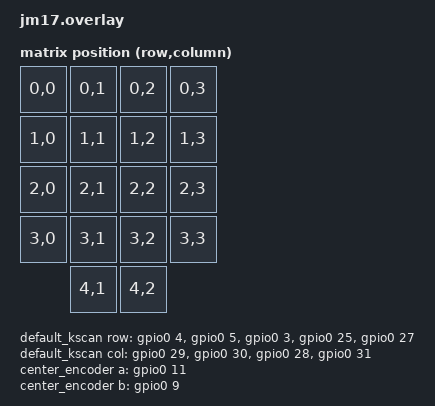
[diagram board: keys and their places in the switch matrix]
/*
 * Copyright (c) 2020 The ZMK Contributors
 *
 * SPDX-License-Identifier: MIT
 */
#include <dt-bindings/zmk/matrix_transform.h>
#include <dt-bindings/led/led.h>

/ {

	chosen {
        zmk,kscan = &default_kscan;
        zmk,matrix-transform = &default_transform;
        zmk,underglow = &led_strip;
        zephyr,display = &oled;
	};

    default_kscan: kscan {
        compatible = "zmk,kscan-gpio-matrix";
        label = "default_kscan";
        diode-direction = "col2row";

        row-gpios = <&gpio0 4  (GPIO_ACTIVE_HIGH | GPIO_PULL_DOWN)>,
                    <&gpio0 5  (GPIO_ACTIVE_HIGH | GPIO_PULL_DOWN)>,
                    <&gpio0 3  (GPIO_ACTIVE_HIGH | GPIO_PULL_DOWN)>,
                    <&gpio0 25  (GPIO_ACTIVE_HIGH | GPIO_PULL_DOWN)>,
                    <&gpio0 27  (GPIO_ACTIVE_HIGH | GPIO_PULL_DOWN)>;
 
        col-gpios = <&gpio0 29  GPIO_ACTIVE_HIGH>,
                    <&gpio0 30 GPIO_ACTIVE_HIGH>,
                    <&gpio0 28  GPIO_ACTIVE_HIGH>,
                    <&gpio0 31  GPIO_ACTIVE_HIGH>;
    };

    default_transform: matrix_transform {
        compatible = "zmk,matrix-transform";
        rows = <5>;
        columns = <4>;

        map = <
            RC(0,0) RC(0,1) RC(0,2) RC(0,3)
            RC(1,0) RC(1,1) RC(1,2) RC(1,3)
            RC(2,0) RC(2,1) RC(2,2) RC(2,3)
            RC(3,0) RC(3,1) RC(3,2) RC(3,3)
                    RC(4,1) RC(4,2) 
        >;
    };

    center_encoder: encoder_center {
		compatible = "alps,ec11";
		label = "CENTER_ENCODER";
		resolution = <4>;
        steps = <40>;
        a-gpios = <&gpio0 11 (GPIO_ACTIVE_HIGH | GPIO_PULL_UP)>;
	    b-gpios = <&gpio0 9 (GPIO_ACTIVE_HIGH | GPIO_PULL_UP)>;
		status = "okay";
	};

    sensors {
		compatible = "zmk,keymap-sensors";
		sensors = <&center_encoder>;
	};
};

&pinctrl {
   spi0_default: spi0_default {
        group1 {
            psels = <NRF_PSEL(SPIM_MOSI, 0, 26)>; // WS2812_VEXT_DATA
        };
    };

    spi0_sleep: spi0_sleep {
        group1 {
            psels = <NRF_PSEL(SPIM_MOSI, 0, 26)>;
            low-power-enable;
        };
    };

    i2c0_default: i2c0_default {
        group1 {
            psels = <NRF_PSEL(TWIM_SDA, 0, 13)>,
                <NRF_PSEL(TWIM_SCL, 0, 12)>;
        };
    };

    i2c0_sleep: i2c0_sleep {
        group1 {
            psels = <NRF_PSEL(TWIM_SDA, 0, 13)>,
                <NRF_PSEL(TWIM_SCL, 0, 12)>;
            low-power-enable;
        };
    };
  };

&spi0{
    compatible = "nordic,nrf-spim";
    status = "disabled";

    pinctrl-0 = <&spi0_default>;
    pinctrl-1 = <&spi0_sleep>;
    pinctrl-names = "default", "sleep";

    led_strip: ws2812@0 {
        compatible = "worldsemi,ws2812-spi";

        /* SPI */
        reg = <0>; /* ignored, but necessary for SPI bindings */
        spi-max-frequency = <4000000>;

        /* WS2812 */
        chain-length = <7>; /* 6 keys have underglow at the moment */
        spi-one-frame = <0x70>;
        spi-zero-frame = <0x40>;

        color-mapping = <LED_COLOR_ID_GREEN LED_COLOR_ID_RED LED_COLOR_ID_BLUE>;
    };
};

&i2c0 {
	status = "okay";
	compatible = "nordic,nrf-twi";
    pinctrl-0 = <&i2c0_default>;
    pinctrl-1 = <&i2c0_sleep>;
     pinctrl-names = "default", "sleep";
    oled: ssd1306@3c {
        compatible = "solomon,ssd1306fb";
        reg = <0x3c>;
        width = <128>;
        height = <32>;
        segment-offset = <0>;
        page-offset = <0>;
        display-offset = <0>;
        multiplex-ratio = <31>;
        segment-remap;
        com-invdir;
        com-sequential;
        inversion-on;
        prechargep = <0x22>;
    };
};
